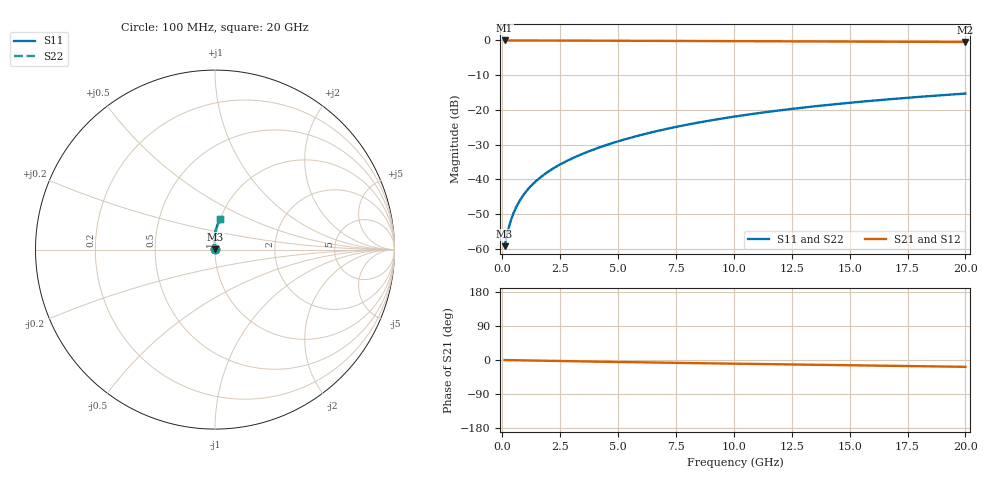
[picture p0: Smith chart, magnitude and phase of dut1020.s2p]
! Touchstone file exported from HFSS 2024.1.0
!  File:  C:/UserFiles/LocalFiles/RDL_TSV_Batchsim/temp_RDL_bottom_1020_1780050695.aedt
!  Generated:  06:34:08 PM May 29, 2026
!  Design:  RDL_bottom
!  Project:  temp_RDL_bottom_1020_1780050695
!  Setup:  Setup1
!  Solution:  Sweep
! Variables:
!  dtsv = 10.80580581um
!  hbump = 3um
!  htsv = 58.47um
!  ldown = 246.82um
!  lrdl = 100um
!  p = 40
!  p1 = 52.92um
!  rhole = 1um
!  t = 450um
!  tdown = 4.89um
!  trdl = 3.915915916um
!  wdown = 28.18um
!  wrdl = 20um
# GHz S MA R 50.000000
! Terminal data exported
! Port[1] = RDL1_T1
! Port[2] = RDL1_T2
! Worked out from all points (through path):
!   200 points, 100 MHz to 20 GHz, reference 50 ohm
!   highest |S21| = -0.01 dB at 100 MHz (marker M1); lowest = -0.4 dB at 20 GHz (marker M2)
!   group delay of S21, straight-line fit = 2.45 ps
!   lowest |S11| = -59.2 dB at 100 MHz (marker M3), VSWR 1.00, Z = 50.1 + j0.0726 ohm
!   |S11| at or under -10 dB: start of sweep to end of sweep
!   |S22| runs from -59.2 to -15.3 dB; largest |S21 - S12| = 5.4e-15
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0.1  0.001095 41.4  0.9992 -0.1  0.9992 -0.1  0.001095 41.4
! Gamma 0 0 0 0
! Port Impedance 50 0 50 0
0.2  0.001593 57.6  0.9991 -0.2  0.9991 -0.2  0.001593 57.6
0.3  0.002153 66.6  0.999 -0.3  0.999 -0.3  0.002154 66.6
0.4  0.002749 72.0  0.9989 -0.4  0.9989 -0.4  0.002749 72.0
0.5  0.003361 75.6  0.9989 -0.6  0.9989 -0.6  0.003361 75.6
0.6  0.003984 78.1  0.9988 -0.7  0.9988 -0.7  0.003984 78.1
0.8  0.005246 81.5  0.9986 -0.9  0.9986 -0.9  0.005246 81.5
1.1  0.007164 84.5  0.9983 -1.2  0.9983 -1.2  0.007163 84.5
1.5  0.009753 87.0  0.9978 -1.6  0.9978 -1.6  0.009753 87.0
1.8  0.01172 88.3  0.9973 -2.0  0.9973 -2.0  0.01172 88.3
2.1  0.01372 89.4  0.9968 -2.3  0.9968 -2.3  0.01372 89.4
2.7  0.01784 91.1  0.9955 -2.9  0.9955 -2.9  0.01784 91.1
3.5  0.0236 92.7  0.9935 -3.7  0.9935 -3.7  0.0236 92.7
4.2  0.02893 93.6  0.9915 -4.4  0.9915 -4.4  0.02893 93.6
5  0.03532 94.1  0.9892 -5.2  0.9892 -5.2  0.03532 94.1
6.8  0.0507 94.0  0.9837 -6.9  0.9837 -6.9  0.0507 94.0
8.4  0.06515 92.9  0.9791 -8.3  0.9791 -8.3  0.06515 92.9
10.1  0.08092 91.3  0.9744 -9.8  0.9744 -9.8  0.08092 91.3
11.7  0.09591 89.5  0.9703 -11.1  0.9703 -11.1  0.0959 89.5
13.4  0.1118 87.6  0.9661 -12.6  0.9661 -12.6  0.1118 87.6
16.7  0.1423 83.8  0.9583 -15.3  0.9583 -15.3  0.1423 83.8
20  0.1719 80.2  0.9507 -18.0  0.9507 -18.0  0.1719 80.2
